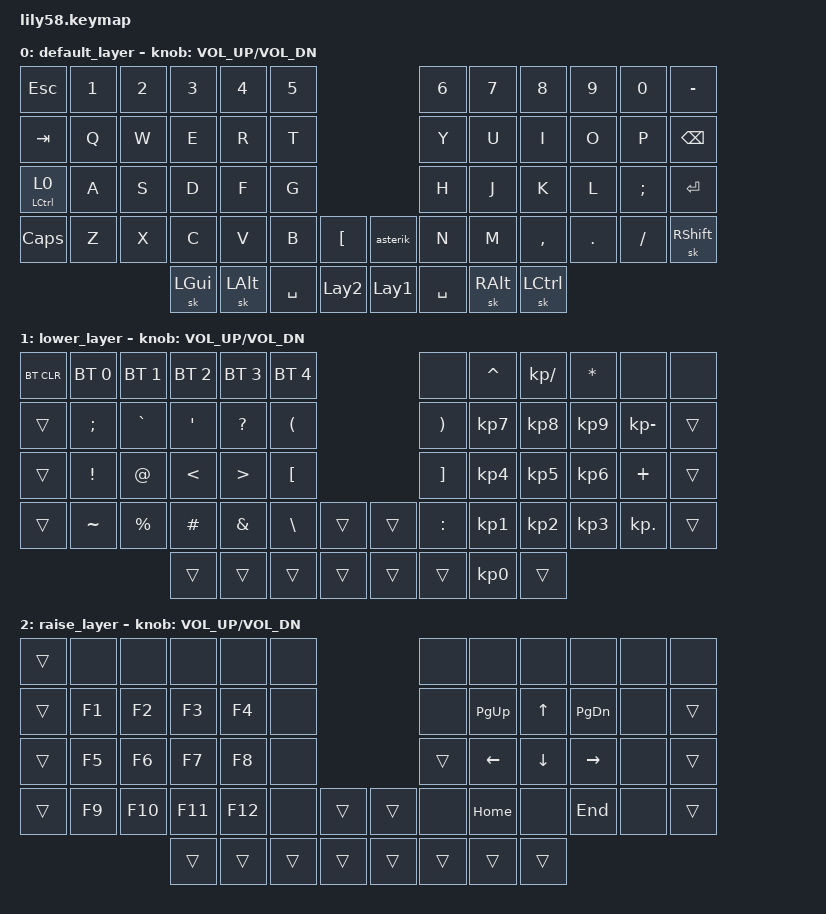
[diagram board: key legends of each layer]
/*
 * Copyright (c) 2020 The ZMK Contributors
 *
 * SPDX-License-Identifier: MIT
 */

#include <behaviors.dtsi>
#include <dt-bindings/zmk/bt.h>
#include <dt-bindings/zmk/keys.h>

/ {
    behaviors {
        Caps: Caps {
            compatible = "zmk,behavior-tap-dance";
            label = "CAPS";
            #binding-cells = <0>;
            bindings = <&sk LSHFT>, <&kp CLCK>;
        };

        Lay1: Lay1 {
            compatible = "zmk,behavior-tap-dance";
            label = "LAY1";
            #binding-cells = <0>;
            bindings = <&to 1>, <&to 0>;
        };

        Lay2: Lay2 {
            compatible = "zmk,behavior-tap-dance";
            label = "LAY2";
            #binding-cells = <0>;
            bindings = <&to 2>, <&to 0>;
        };

        asterik: asterik {
            compatible = "zmk,behavior-tap-dance";
            label = "ASTERIK";
            #binding-cells = <0>;
            bindings = <&kp RIGHT_BRACKET>, <&kp ASTRK>;
        };

        leftcontrol: leftcontrol {
            compatible = "zmk,behavior-hold-tap";
            label = "LEFTCONTROL";
            bindings = <&kp>, <&to>;

            #binding-cells = <2>;
            tapping-term-ms = <200>;
        };
    };

    keymap {
        compatible = "zmk,keymap";

        default_layer {
            // ------------------------------------------------------------------------------------------------------------
            // |  ESC  |  1  |  2  |  3   |  4   |  5   |                   |  6   |  7    |  8    |  9   |   0   |   `   |
            // |  TAB  |  Q  |  W  |  E   |  R   |  T   |                   |  Y   |  U    |  I    |  O   |   P   |   -   |
            // |  CTRL |  A  |  S  |  D   |  F   |  G   |                   |  H   |  J    |  K    |  L   |   ;   |   '   |
            // | SHIFT |  Z  |  X  |  C   |  V   |  B   |   "["  |  |  "]"  |  N   |  M    |  ,    |  .   |   /   | SHIFT |
            //                     | ALT  | GUI  | LOWER|  SPACE |  | ENTER | RAISE| BSPC  | GUI   |

            bindings = <
&kp ESCAPE                   &kp N1  &kp N2  &kp N3        &kp N4    &kp N5                           &kp N6     &kp N7    &kp N8            &kp N9   &kp N0    &kp MINUS
&kp TAB                      &kp Q   &kp W   &kp E         &kp R     &kp T                            &kp Y      &kp U     &kp I             &kp O    &kp P     &kp BACKSPACE
&leftcontrol LEFT_CONTROL 0  &kp A   &kp S   &kp D         &kp F     &kp G                            &kp H      &kp J     &kp K             &kp L    &kp SEMI  &kp ENTER
&Caps                        &kp Z   &kp X   &kp C         &kp V     &kp B      &kp LBKT    &asterik  &kp N      &kp M     &kp COMMA         &kp DOT  &kp FSLH  &sk RSHFT
                                             &sk LEFT_GUI  &sk LALT  &kp SPACE  &Lay2       &Lay1     &kp SPACE  &sk RALT  &sk LEFT_CONTROL
            >;

            sensor-bindings = <&inc_dec_kp C_VOL_UP C_VOL_DN>;
        };

        lower_layer {
            // ------------------------------------------------------------------------------------------------------------
            // | BTCLR | BT1 | BT2 |  BT3 |  BT4 |  BT5 |                   |      |       |       |      |       |       |
            // |  F1   |  F2 |  F3 |  F4  |  F5  |  F6  |                   |  F7  |  F8   |  F9   |  F10 |  F11  |  F12  |
            // |   `   |  !  |  @  |  #   |  $   |  %   |                   |  ^   |  &    |  *    |  (   |   )   |   ~   |
            // |       |     |     |      |      |      |        |  |       |      |  _    |  +    |  {   |   }   |  "|"  |
            //                     |      |      |      |        |  |       |      |       |       |

            bindings = <
&bt BT_CLR  &bt BT_SEL 0  &bt BT_SEL 1  &bt BT_SEL 2   &bt BT_SEL 3      &bt BT_SEL 4                            &none                  &kp CARET        &kp KP_DIVIDE  &kp STAR         &none         &none
&trans      &kp SEMI      &kp GRAVE     &kp APOS       &kp QMARK         &kp LEFT_PARENTHESIS                    &kp RIGHT_PARENTHESIS  &kp KP_N7        &kp KP_N8      &kp KP_N9        &kp KP_MINUS  &trans
&trans      &kp EXCL      &kp AT        &kp LESS_THAN  &kp GREATER_THAN  &kp LEFT_BRACKET                        &kp RIGHT_BRACKET      &kp KP_N4        &kp KP_N5      &kp KP_N6        &kp PLUS      &trans
&trans      &kp TILDE     &kp PERCENT   &kp HASH       &kp AMPS          &kp BSLH              &trans    &trans  &kp COLON              &kp KP_NUMBER_1  &kp KP_N2      &kp KP_NUMBER_3  &kp KP_DOT    &trans
                                        &trans         &trans            &trans                &trans    &trans  &trans                 &kp KP_N0        &trans
            >;

            sensor-bindings = <&inc_dec_kp C_VOL_UP C_VOL_DN>;
        };

        raise_layer {
            // ------------------------------------------------------------------------------------------------------------
            // |       |     |     |      |      |      |                   |      |       |       |      |       |       |
            // |   `   |  1  |  2  |  3   |  4   |  5   |                   |  6   |   7   |   8   |  9   |   0   |       |
            // |   F1  |  F2 |  F3 |  F4  |  F5  |  F6  |                   |      |   <-  |   v   |  ^   |  ->   |       |
            // |   F7  |  F8 |  F9 |  F10 |  F11 |  F12 |        |  |       |  +   |   -   |   =   |  [   |   ]   |   \   |
            //                     |      |      |      |        |  |       |      |       |       |

            bindings = <
&trans  &none   &none    &none    &none    &none                     &none   &none        &none         &none          &none  &none
&trans  &kp F1  &kp F2   &kp F3   &kp F4   &none                     &none   &kp PAGE_UP  &kp UP_ARROW  &kp PAGE_DOWN  &none  &trans
&trans  &kp F5  &kp F6   &kp F7   &kp F8   &none                     &trans  &kp LEFT     &kp DOWN      &kp RIGHT      &none  &trans
&trans  &kp F9  &kp F10  &kp F11  &kp F12  &none   &trans    &trans  &none   &kp HOME     &none         &kp END        &none  &trans
                         &trans   &trans   &trans  &trans    &trans  &trans  &trans       &trans
            >;

            sensor-bindings = <&inc_dec_kp C_VOL_UP C_VOL_DN>;
        };
    };
};
